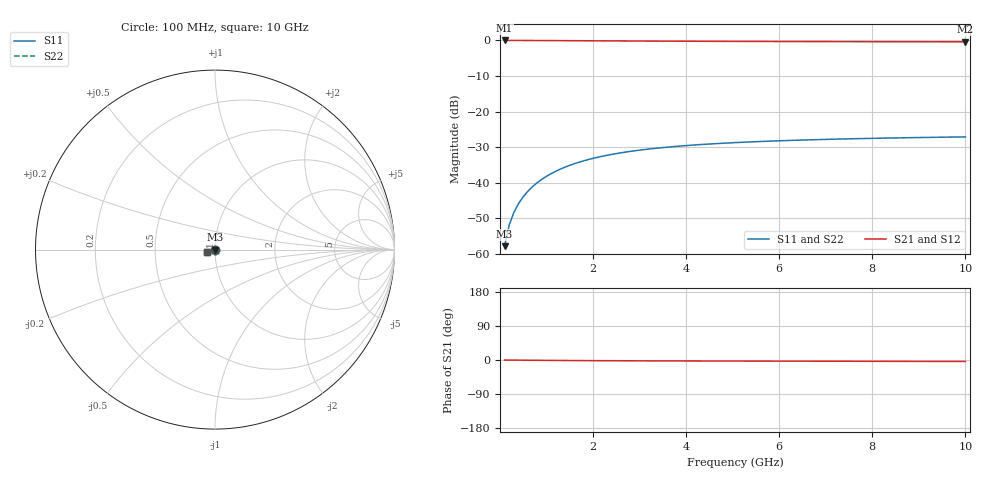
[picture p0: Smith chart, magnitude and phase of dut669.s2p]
! Touchstone file exported from HFSS 2024.1.0
!  File:  C:/UserFiles/LocalFiles/RDL_TSV_Batchsim/temp_TSV1_669_1779793967.aedt
!  Generated:  07:17:35 PM May 26, 2026
!  Design:  TSV1
!  Project:  temp_TSV1_669_1779793967
!  Setup:  Setup1
!  Solution:  Sweep
! Variables:
!  dtsv = 14.41um
!  hbump = 3um
!  htsv = 56.44um
!  lrdl = 252.1521522um
!  p = 40
!  p1 = 49.75um
!  t = 500um
!  trdl = 3um
!  wrdl = 24.89489489um
# GHz S MA R 50.000000
! Terminal data exported
! Port[1] = TSV22_T1
! Port[2] = TSV22_T2
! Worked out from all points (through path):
!   100 points, 100 MHz to 10 GHz, reference 50 ohm
!   highest |S21| = 0.00 dB at 100 MHz (marker M1); lowest = -0.4 dB at 10 GHz (marker M2)
!   lowest |S11| = -57.8 dB at 100 MHz (marker M3), VSWR 1.00, Z = 50 - j0.128 ohm
!   |S11| at or under -10 dB: start of sweep to end of sweep
!   |S22| runs from -57.8 to -27.1 dB; largest |S21 - S12| = 2.1e-15
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0.1  0.001282 -88.7  0.9999 -0.1  0.9999 -0.1  0.001282 -88.7
! Gamma 0 0 0 0
! Port Impedance 50 0 50 0
0.2  0.00256 -92.0  0.9998 -0.2  0.9998 -0.2  0.00256 -92.0
0.3  0.003834 -94.3  0.9996 -0.3  0.9996 -0.3  0.003834 -94.3
0.4  0.005099 -96.3  0.9993 -0.4  0.9993 -0.4  0.005099 -96.3
0.5  0.006352 -98.1  0.9989 -0.5  0.9989 -0.5  0.006352 -98.1
0.6  0.007589 -99.9  0.9985 -0.6  0.9985 -0.6  0.007589 -99.9
0.7  0.008806 -101.6  0.998 -0.7  0.998 -0.7  0.008806 -101.6
0.8  0.01 -103.3  0.9975 -0.8  0.9975 -0.8  0.01 -103.3
0.9  0.01117 -105.0  0.9969 -0.9  0.9969 -0.9  0.01117 -105.0
1.1  0.01342 -108.1  0.9956 -1.1  0.9956 -1.1  0.01342 -108.1
1.4  0.01658 -112.6  0.9933 -1.3  0.9933 -1.3  0.01658 -112.6
1.6  0.01852 -115.4  0.9918 -1.5  0.9918 -1.5  0.01852 -115.4
1.8  0.02033 -118.1  0.9902 -1.6  0.9902 -1.6  0.02033 -118.1
2.1  0.0228 -121.8  0.9878 -1.8  0.9878 -1.8  0.0228 -121.8
2.5  0.02569 -126.2  0.9847 -2.0  0.9847 -2.0  0.02569 -126.2
2.9  0.02815 -130.2  0.9817 -2.1  0.9817 -2.1  0.02815 -130.2
3.4  0.03074 -134.5  0.9784 -2.3  0.9784 -2.3  0.03074 -134.5
4.2  0.034 -140.2  0.9738 -2.6  0.9738 -2.6  0.034 -140.2
5.1  0.03675 -145.4  0.9696 -2.8  0.9696 -2.8  0.03675 -145.4
6.7  0.04015 -152.3  0.9642 -3.2  0.9642 -3.2  0.04015 -152.3
8.4  0.04253 -157.9  0.9603 -3.5  0.9603 -3.5  0.04253 -157.9
10  0.04405 -162.0  0.9577 -3.9  0.9577 -3.9  0.04405 -162.0
